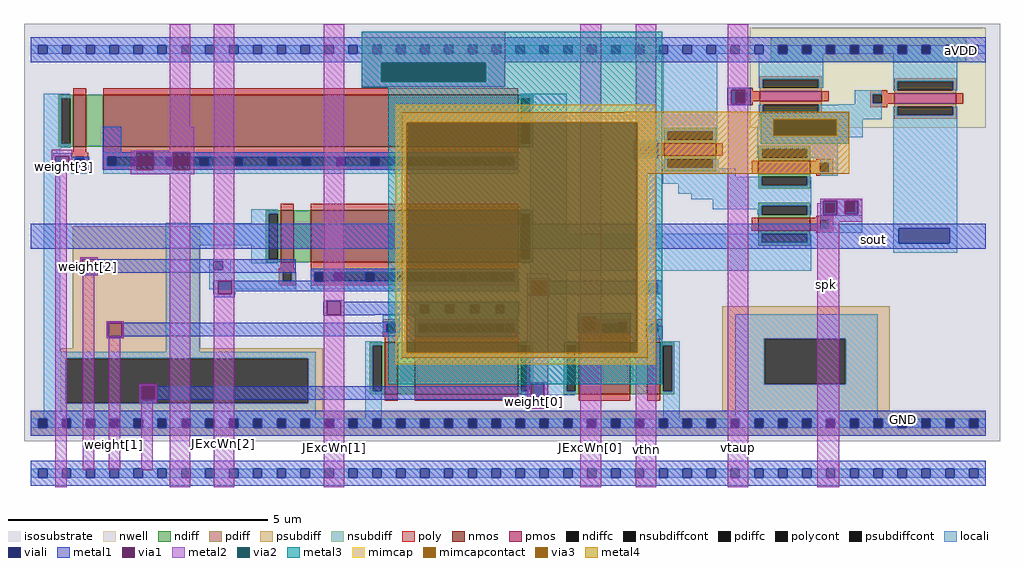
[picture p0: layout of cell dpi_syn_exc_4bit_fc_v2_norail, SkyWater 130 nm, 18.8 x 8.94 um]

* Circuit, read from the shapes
.subckt dpi_syn_exc_4bit_fc_v2_norail GND sout spk weight[0] weight[3] weight[2] weight[1] JExcWn[0] JExcWn[1] JExcWn[2] JExcWn[3] vthn vtaup aVDD
XM1 n1 weight[3] GND GND sky130_fd_pr__nfet_01v8 w=1 l=0.25
XM2 n2 JExcWn[3] n1 GND sky130_fd_pr__nfet_01v8 w=1 l=8
XM3 n3 weight[2] GND GND sky130_fd_pr__nfet_01v8 w=1 l=0.25
XM4 n2 JExcWn[2] n3 GND sky130_fd_pr__nfet_01v8 w=1 l=4
XM5 n4 weight[1] GND GND sky130_fd_pr__nfet_01v8 w=1 l=0.25
XM6 n2 JExcWn[1] n4 GND sky130_fd_pr__nfet_01v8 w=1 l=2
XM7 n5 JExcWn[0] n2 GND sky130_fd_pr__nfet_01v8 w=1 l=1
XM8 GND weight[0] n5 GND sky130_fd_pr__nfet_01v8 w=1 l=0.25
XM9 aVDD vthn n6 GND sky130_fd_pr__nfet_01v8 w=1 l=0.25
XM10 n6 spk n2 GND sky130_fd_pr__nfet_01v8 w=1 l=0.25
XM11 n7 n7 n6 GND sky130_fd_pr__nfet_01v8 w=1 l=0.25
XM12 aVDD vtaup n7 aVDD sky130_fd_pr__pfet_01v8 w=1.2 l=0.2
XM13 aVDD n7 sout aVDD sky130_fd_pr__pfet_01v8 w=1.2 l=0.2
XC14 n7 aVDD sky130_fd_pr__cap_mim_m3_1 w=5 l=5
.ends

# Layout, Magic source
magic
tech sky130A
magscale 1 2
<< isosubstrate >>
rect 11978 -9503 15739 -7893
<< nwell >>
rect 14774 -8295 15684 -7909
<< nmos >>
rect 12168 -8368 12218 -8168
rect 12283 -8368 13883 -8168
rect 14445 -8403 14645 -8353
rect 14808 -8471 15008 -8421
rect 12968 -8813 13018 -8613
rect 13083 -8813 13883 -8613
rect 14808 -8691 15008 -8641
rect 13368 -9321 13418 -9121
rect 13483 -9321 13883 -9121
rect 14115 -9321 14315 -9121
rect 14380 -9321 14430 -9121
<< pmos >>
rect 14813 -8193 15053 -8153
rect 15331 -8201 15571 -8161
<< ndiff >>
rect 12110 -8180 12168 -8168
rect 12110 -8356 12122 -8180
rect 12156 -8356 12168 -8180
rect 12110 -8368 12168 -8356
rect 12218 -8368 12283 -8168
rect 13883 -8180 13941 -8168
rect 13883 -8356 13895 -8180
rect 13929 -8356 13941 -8180
rect 14445 -8307 14645 -8295
rect 14445 -8341 14457 -8307
rect 14633 -8341 14645 -8307
rect 13883 -8368 13941 -8356
rect 14445 -8353 14645 -8341
rect 14808 -8375 15008 -8363
rect 14445 -8415 14645 -8403
rect 14445 -8449 14457 -8415
rect 14633 -8449 14645 -8415
rect 14808 -8409 14820 -8375
rect 14996 -8409 15008 -8375
rect 14808 -8421 15008 -8409
rect 14445 -8461 14645 -8449
rect 14808 -8483 15008 -8471
rect 14808 -8517 14820 -8483
rect 14996 -8517 15008 -8483
rect 14808 -8529 15008 -8517
rect 14808 -8595 15008 -8583
rect 12910 -8625 12968 -8613
rect 12910 -8801 12922 -8625
rect 12956 -8801 12968 -8625
rect 12910 -8813 12968 -8801
rect 13018 -8813 13083 -8613
rect 13883 -8625 13941 -8613
rect 13883 -8801 13895 -8625
rect 13929 -8801 13941 -8625
rect 14808 -8629 14820 -8595
rect 14996 -8629 15008 -8595
rect 14808 -8641 15008 -8629
rect 14808 -8703 15008 -8691
rect 14808 -8737 14820 -8703
rect 14996 -8737 15008 -8703
rect 14808 -8749 15008 -8737
rect 13883 -8813 13941 -8801
rect 13310 -9133 13368 -9121
rect 13310 -9309 13322 -9133
rect 13356 -9309 13368 -9133
rect 13310 -9321 13368 -9309
rect 13418 -9321 13483 -9121
rect 13883 -9133 13941 -9121
rect 13883 -9309 13895 -9133
rect 13929 -9309 13941 -9133
rect 13883 -9321 13941 -9309
rect 14057 -9133 14115 -9121
rect 14057 -9309 14069 -9133
rect 14103 -9309 14115 -9133
rect 14057 -9321 14115 -9309
rect 14315 -9321 14380 -9121
rect 14430 -9133 14484 -9121
rect 14430 -9309 14442 -9133
rect 14476 -9309 14484 -9133
rect 14430 -9321 14484 -9309
<< pdiff >>
rect 14813 -8107 15053 -8095
rect 14813 -8141 14825 -8107
rect 15041 -8141 15053 -8107
rect 14813 -8153 15053 -8141
rect 15331 -8115 15571 -8103
rect 15331 -8149 15343 -8115
rect 15559 -8149 15571 -8115
rect 15331 -8161 15571 -8149
rect 14813 -8205 15053 -8193
rect 14813 -8239 14825 -8205
rect 15041 -8239 15053 -8205
rect 15331 -8213 15571 -8201
rect 14813 -8251 15053 -8239
rect 15331 -8247 15343 -8213
rect 15559 -8247 15571 -8213
rect 15331 -8259 15571 -8247
<< ndiffc >>
rect 12122 -8356 12156 -8180
rect 13895 -8356 13929 -8180
rect 14457 -8341 14633 -8307
rect 14457 -8449 14633 -8415
rect 14820 -8409 14996 -8375
rect 14820 -8517 14996 -8483
rect 12922 -8801 12956 -8625
rect 13895 -8801 13929 -8625
rect 14820 -8629 14996 -8595
rect 14820 -8737 14996 -8703
rect 13322 -9309 13356 -9133
rect 13895 -9309 13929 -9133
rect 14069 -9309 14103 -9133
rect 14442 -9309 14476 -9133
<< pdiffc >>
rect 14825 -8141 15041 -8107
rect 15343 -8149 15559 -8115
rect 14825 -8239 15041 -8205
rect 15343 -8247 15559 -8213
<< psubdiff >>
rect 12166 -9143 12657 -8673
rect 14669 -9107 15314 -8982
rect 12120 -9183 13130 -9143
rect 12120 -9356 12139 -9183
rect 13074 -9356 13130 -9183
rect 14669 -9282 14830 -9107
rect 15144 -9282 15314 -9107
rect 12120 -9385 13130 -9356
rect 14669 -9385 15314 -9282
rect 12004 -9416 15684 -9385
rect 12004 -9450 12033 -9416
rect 12067 -9450 12125 -9416
rect 12159 -9450 12217 -9416
rect 12251 -9450 12309 -9416
rect 12343 -9450 12401 -9416
rect 12435 -9450 12493 -9416
rect 12527 -9450 12585 -9416
rect 12619 -9450 12677 -9416
rect 12711 -9450 12769 -9416
rect 12803 -9450 12861 -9416
rect 12895 -9450 12953 -9416
rect 12987 -9450 13045 -9416
rect 13079 -9450 13137 -9416
rect 13171 -9450 13229 -9416
rect 13263 -9450 13321 -9416
rect 13355 -9450 13413 -9416
rect 13447 -9450 13505 -9416
rect 13539 -9450 13597 -9416
rect 13631 -9450 13689 -9416
rect 13723 -9450 13781 -9416
rect 13815 -9450 13873 -9416
rect 13907 -9450 13965 -9416
rect 13999 -9450 14057 -9416
rect 14091 -9450 14149 -9416
rect 14183 -9450 14241 -9416
rect 14275 -9450 14333 -9416
rect 14367 -9450 14425 -9416
rect 14459 -9450 14517 -9416
rect 14551 -9450 14609 -9416
rect 14643 -9450 14701 -9416
rect 14735 -9450 14793 -9416
rect 14827 -9450 14885 -9416
rect 14919 -9450 14977 -9416
rect 15011 -9450 15069 -9416
rect 15103 -9450 15161 -9416
rect 15195 -9450 15253 -9416
rect 15287 -9450 15345 -9416
rect 15379 -9450 15437 -9416
rect 15471 -9450 15529 -9416
rect 15563 -9450 15621 -9416
rect 15655 -9450 15684 -9416
rect 12004 -9481 15684 -9450
<< nsubdiff >>
rect 14856 -7976 15609 -7945
rect 14856 -8010 14885 -7976
rect 14919 -8010 14977 -7976
rect 15011 -8010 15069 -7976
rect 15103 -8010 15161 -7976
rect 15195 -8010 15253 -7976
rect 15287 -8010 15345 -7976
rect 15379 -8010 15437 -7976
rect 15471 -8010 15529 -7976
rect 15563 -8010 15609 -7976
rect 14856 -8040 15609 -8010
<< psubdiffcont >>
rect 12139 -9356 13074 -9183
rect 14830 -9282 15144 -9107
rect 12033 -9450 12067 -9416
rect 12125 -9450 12159 -9416
rect 12217 -9450 12251 -9416
rect 12309 -9450 12343 -9416
rect 12401 -9450 12435 -9416
rect 12493 -9450 12527 -9416
rect 12585 -9450 12619 -9416
rect 12677 -9450 12711 -9416
rect 12769 -9450 12803 -9416
rect 12861 -9450 12895 -9416
rect 12953 -9450 12987 -9416
rect 13045 -9450 13079 -9416
rect 13137 -9450 13171 -9416
rect 13229 -9450 13263 -9416
rect 13321 -9450 13355 -9416
rect 13413 -9450 13447 -9416
rect 13505 -9450 13539 -9416
rect 13597 -9450 13631 -9416
rect 13689 -9450 13723 -9416
rect 13781 -9450 13815 -9416
rect 13873 -9450 13907 -9416
rect 13965 -9450 13999 -9416
rect 14057 -9450 14091 -9416
rect 14149 -9450 14183 -9416
rect 14241 -9450 14275 -9416
rect 14333 -9450 14367 -9416
rect 14425 -9450 14459 -9416
rect 14517 -9450 14551 -9416
rect 14609 -9450 14643 -9416
rect 14701 -9450 14735 -9416
rect 14793 -9450 14827 -9416
rect 14885 -9450 14919 -9416
rect 14977 -9450 15011 -9416
rect 15069 -9450 15103 -9416
rect 15161 -9450 15195 -9416
rect 15253 -9450 15287 -9416
rect 15345 -9450 15379 -9416
rect 15437 -9450 15471 -9416
rect 15529 -9450 15563 -9416
rect 15621 -9450 15655 -9416
<< nsubdiffcont >>
rect 14885 -8010 14919 -7976
rect 14977 -8010 15011 -7976
rect 15069 -8010 15103 -7976
rect 15161 -8010 15195 -7976
rect 15253 -8010 15287 -7976
rect 15345 -8010 15379 -7976
rect 15437 -8010 15471 -7976
rect 15529 -8010 15563 -7976
<< poly >>
rect 12168 -8168 12218 -8142
rect 12283 -8168 13883 -8142
rect 14721 -8153 14787 -8141
rect 14721 -8157 14813 -8153
rect 14721 -8191 14731 -8157
rect 14765 -8191 14813 -8157
rect 14721 -8193 14813 -8191
rect 15053 -8193 15079 -8153
rect 15239 -8161 15305 -8149
rect 15239 -8165 15331 -8161
rect 14721 -8207 14787 -8193
rect 15239 -8199 15249 -8165
rect 15283 -8199 15331 -8165
rect 15239 -8201 15331 -8199
rect 15571 -8201 15597 -8161
rect 15239 -8215 15305 -8201
rect 14357 -8353 14423 -8345
rect 14357 -8361 14445 -8353
rect 12168 -8390 12218 -8368
rect 12160 -8406 12226 -8390
rect 12160 -8440 12176 -8406
rect 12210 -8440 12226 -8406
rect 12160 -8456 12226 -8440
rect 12283 -8406 13883 -8368
rect 12283 -8440 12299 -8406
rect 13867 -8440 13883 -8406
rect 14357 -8395 14373 -8361
rect 14407 -8395 14445 -8361
rect 14357 -8403 14445 -8395
rect 14645 -8403 14671 -8353
rect 14357 -8411 14423 -8403
rect 12283 -8456 13883 -8440
rect 15030 -8421 15096 -8413
rect 14782 -8471 14808 -8421
rect 15008 -8429 15096 -8421
rect 15008 -8463 15046 -8429
rect 15080 -8463 15096 -8429
rect 15008 -8471 15096 -8463
rect 15030 -8479 15096 -8471
rect 12968 -8613 13018 -8587
rect 13083 -8613 13883 -8587
rect 15030 -8641 15096 -8633
rect 14782 -8691 14808 -8641
rect 15008 -8649 15096 -8641
rect 15008 -8683 15046 -8649
rect 15080 -8683 15096 -8649
rect 15008 -8691 15096 -8683
rect 15030 -8699 15096 -8691
rect 12968 -8835 13018 -8813
rect 12960 -8851 13026 -8835
rect 12960 -8885 12976 -8851
rect 13010 -8885 13026 -8851
rect 12960 -8901 13026 -8885
rect 13083 -8851 13883 -8813
rect 13083 -8885 13099 -8851
rect 13867 -8885 13883 -8851
rect 13083 -8901 13883 -8885
rect 13360 -9049 13426 -9033
rect 13360 -9083 13376 -9049
rect 13410 -9083 13426 -9049
rect 13360 -9099 13426 -9083
rect 13483 -9049 13883 -9033
rect 13483 -9083 13499 -9049
rect 13867 -9083 13883 -9049
rect 13368 -9121 13418 -9099
rect 13483 -9121 13883 -9083
rect 14115 -9049 14315 -9033
rect 14115 -9083 14131 -9049
rect 14299 -9083 14315 -9049
rect 14115 -9121 14315 -9083
rect 14372 -9049 14438 -9033
rect 14372 -9083 14388 -9049
rect 14422 -9083 14438 -9049
rect 14372 -9099 14438 -9083
rect 14380 -9121 14430 -9099
rect 13368 -9347 13418 -9321
rect 13483 -9347 13883 -9321
rect 14115 -9347 14315 -9321
rect 14380 -9347 14430 -9321
<< polycont >>
rect 14731 -8191 14765 -8157
rect 15249 -8199 15283 -8165
rect 12176 -8440 12210 -8406
rect 12299 -8440 13867 -8406
rect 14373 -8395 14407 -8361
rect 15046 -8463 15080 -8429
rect 15046 -8683 15080 -8649
rect 12976 -8885 13010 -8851
rect 13099 -8885 13867 -8851
rect 13376 -9083 13410 -9049
rect 13499 -9083 13867 -9049
rect 14131 -9083 14299 -9049
rect 14388 -9083 14422 -9049
<< locali >>
rect 12004 -8010 12033 -7976
rect 12067 -8010 12125 -7976
rect 12159 -8010 12217 -7976
rect 12251 -8010 12309 -7976
rect 12343 -8010 12401 -7976
rect 12435 -8010 12493 -7976
rect 12527 -8010 12585 -7976
rect 12619 -8010 12677 -7976
rect 12711 -8010 12769 -7976
rect 12803 -8010 12861 -7976
rect 12895 -8010 12953 -7976
rect 12987 -8010 13045 -7976
rect 13079 -8010 13137 -7976
rect 13171 -8010 13229 -7976
rect 13263 -8010 13321 -7976
rect 13355 -8010 13413 -7976
rect 13447 -8010 13505 -7976
rect 13539 -8010 13597 -7976
rect 13631 -8010 13689 -7976
rect 13723 -8010 13781 -7976
rect 13815 -8010 13873 -7976
rect 13907 -8010 13965 -7976
rect 13999 -8010 14057 -7976
rect 14091 -8010 14149 -7976
rect 14183 -8010 14241 -7976
rect 14275 -8010 14333 -7976
rect 14367 -8010 14425 -7976
rect 14459 -8010 14517 -7976
rect 14551 -8010 14609 -7976
rect 14643 -8010 14701 -7976
rect 14735 -8010 14793 -7976
rect 14827 -8010 14885 -7976
rect 14919 -8010 14977 -7976
rect 15011 -8010 15069 -7976
rect 15103 -8010 15161 -7976
rect 15195 -8010 15253 -7976
rect 15287 -8010 15345 -7976
rect 15379 -8010 15437 -7976
rect 15471 -8010 15529 -7976
rect 15563 -8010 15621 -7976
rect 15655 -8010 15684 -7976
rect 12055 -8180 12156 -8164
rect 12055 -8356 12122 -8180
rect 12055 -8372 12156 -8356
rect 13895 -8180 14069 -8164
rect 13929 -8356 14069 -8180
rect 14441 -8307 14649 -8010
rect 14809 -8107 15057 -8010
rect 14688 -8157 14769 -8140
rect 14809 -8141 14825 -8107
rect 15041 -8141 15057 -8107
rect 15327 -8115 15575 -8010
rect 15327 -8149 15343 -8115
rect 15559 -8149 15575 -8115
rect 14688 -8191 14720 -8157
rect 14765 -8191 14769 -8157
rect 14688 -8207 14769 -8191
rect 15179 -8165 15283 -8149
rect 15179 -8199 15249 -8165
rect 15179 -8203 15283 -8199
rect 15116 -8205 15283 -8203
rect 14809 -8239 14825 -8205
rect 15041 -8239 15283 -8205
rect 14809 -8261 15283 -8239
rect 14809 -8292 14867 -8261
rect 14441 -8341 14457 -8307
rect 14633 -8341 14649 -8307
rect 14803 -8326 14867 -8292
rect 15110 -8262 15283 -8261
rect 15327 -8247 15343 -8213
rect 15559 -8247 15575 -8213
rect 15110 -8326 15210 -8262
rect 14803 -8330 15210 -8326
rect 13895 -8372 14069 -8356
rect 12055 -9157 12118 -8372
rect 12282 -8406 13860 -8388
rect 12160 -8448 12176 -8406
rect 12210 -8448 12226 -8406
rect 12160 -8472 12226 -8448
rect 12282 -8440 12299 -8406
rect 13867 -8440 13883 -8406
rect 12282 -8441 12525 -8440
rect 12559 -8441 12656 -8440
rect 12690 -8441 12787 -8440
rect 12821 -8441 12918 -8440
rect 12952 -8441 13049 -8440
rect 13083 -8441 13181 -8440
rect 13215 -8441 13312 -8440
rect 13346 -8441 13443 -8440
rect 13477 -8441 13574 -8440
rect 13608 -8441 13705 -8440
rect 13739 -8441 13883 -8440
rect 12282 -8457 13883 -8441
rect 12283 -8472 13883 -8457
rect 13929 -8609 14069 -8372
rect 14328 -8361 14407 -8345
rect 14328 -8395 14352 -8361
rect 14328 -8412 14407 -8395
rect 14803 -8375 15114 -8330
rect 14803 -8409 14820 -8375
rect 14996 -8409 15114 -8375
rect 14441 -8437 14457 -8415
rect 14440 -8449 14457 -8437
rect 14633 -8449 14654 -8415
rect 14440 -8450 14654 -8449
rect 15046 -8429 15114 -8409
rect 14440 -8484 14721 -8450
rect 15080 -8463 15114 -8429
rect 15046 -8479 15114 -8463
rect 14804 -8484 14820 -8483
rect 14440 -8510 14820 -8484
rect 14499 -8517 14820 -8510
rect 14996 -8517 15012 -8483
rect 14499 -8548 15012 -8517
rect 14550 -8569 15012 -8548
rect 14633 -8595 15012 -8569
rect 14633 -8608 14820 -8595
rect 12853 -8625 12956 -8609
rect 12525 -8662 12609 -8661
rect 12853 -8662 12922 -8625
rect 12525 -8747 12922 -8662
rect 12525 -9157 12656 -8747
rect 12853 -8801 12922 -8747
rect 12691 -8808 12774 -8801
rect 12691 -8842 12710 -8808
rect 12744 -8842 12774 -8808
rect 12853 -8817 12956 -8801
rect 13895 -8625 14069 -8609
rect 13929 -8703 14069 -8625
rect 14804 -8629 14820 -8608
rect 14996 -8629 15012 -8595
rect 15046 -8584 15209 -8568
rect 15046 -8585 15145 -8584
rect 15046 -8619 15066 -8585
rect 15100 -8618 15145 -8585
rect 15179 -8618 15209 -8584
rect 15100 -8619 15209 -8618
rect 15046 -8649 15209 -8619
rect 15080 -8650 15209 -8649
rect 15080 -8683 15208 -8650
rect 15046 -8699 15208 -8683
rect 15327 -8682 15575 -8247
rect 13929 -8737 14820 -8703
rect 14996 -8737 15012 -8703
rect 13929 -8801 15012 -8737
rect 15327 -8740 15348 -8682
rect 15545 -8740 15575 -8682
rect 15327 -8776 15575 -8740
rect 13895 -8817 15012 -8801
rect 12691 -8851 12774 -8842
rect 13083 -8851 13867 -8838
rect 13929 -8846 15012 -8817
rect 12691 -8866 12976 -8851
rect 12692 -8885 12976 -8866
rect 13010 -8885 13027 -8851
rect 12692 -8917 13027 -8885
rect 13083 -8885 13099 -8851
rect 13867 -8885 13883 -8851
rect 13083 -8917 13883 -8885
rect 13840 -8966 13883 -8965
rect 13483 -8976 13883 -8966
rect 13483 -9010 13504 -8976
rect 13538 -9010 13601 -8976
rect 13635 -9010 13698 -8976
rect 13732 -9010 13795 -8976
rect 13829 -9010 13883 -8976
rect 13360 -9049 13426 -9017
rect 13360 -9083 13376 -9049
rect 13410 -9083 13426 -9049
rect 13483 -9049 13883 -9010
rect 13483 -9083 13499 -9049
rect 13867 -9083 13883 -9049
rect 13483 -9098 13853 -9083
rect 13929 -9117 14069 -8846
rect 14371 -8894 14438 -8881
rect 14371 -8928 14386 -8894
rect 14420 -8928 14438 -8894
rect 14112 -9043 14317 -9010
rect 14112 -9083 14131 -9043
rect 14165 -9049 14266 -9043
rect 14300 -9077 14317 -9043
rect 14371 -9049 14438 -8928
rect 14371 -9066 14388 -9049
rect 14299 -9083 14317 -9077
rect 14372 -9083 14388 -9066
rect 14422 -9083 14438 -9049
rect 14112 -9084 14317 -9083
rect 14719 -9107 15267 -9012
rect 13293 -9133 13356 -9117
rect 12055 -9183 13103 -9157
rect 12055 -9356 12139 -9183
rect 13074 -9356 13103 -9183
rect 12055 -9416 13103 -9356
rect 13293 -9309 13322 -9133
rect 13293 -9416 13356 -9309
rect 13895 -9133 14103 -9117
rect 13929 -9309 14069 -9133
rect 13895 -9325 14103 -9309
rect 14442 -9133 14505 -9117
rect 14476 -9309 14505 -9133
rect 14442 -9416 14505 -9309
rect 14719 -9282 14830 -9107
rect 15144 -9282 15267 -9107
rect 14719 -9416 15267 -9282
rect 12004 -9450 12033 -9416
rect 12067 -9450 12125 -9416
rect 12159 -9450 12217 -9416
rect 12251 -9450 12309 -9416
rect 12343 -9450 12401 -9416
rect 12435 -9450 12493 -9416
rect 12527 -9450 12585 -9416
rect 12619 -9450 12677 -9416
rect 12711 -9450 12769 -9416
rect 12803 -9450 12861 -9416
rect 12895 -9450 12953 -9416
rect 12987 -9450 13045 -9416
rect 13079 -9450 13137 -9416
rect 13171 -9450 13229 -9416
rect 13263 -9450 13321 -9416
rect 13355 -9450 13413 -9416
rect 13447 -9450 13505 -9416
rect 13539 -9450 13597 -9416
rect 13631 -9450 13689 -9416
rect 13723 -9450 13781 -9416
rect 13815 -9450 13873 -9416
rect 13907 -9450 13965 -9416
rect 13999 -9450 14057 -9416
rect 14091 -9450 14149 -9416
rect 14183 -9450 14241 -9416
rect 14275 -9450 14333 -9416
rect 14367 -9450 14425 -9416
rect 14459 -9450 14517 -9416
rect 14551 -9450 14609 -9416
rect 14643 -9450 14701 -9416
rect 14735 -9450 14793 -9416
rect 14827 -9450 14885 -9416
rect 14919 -9450 14977 -9416
rect 15011 -9450 15069 -9416
rect 15103 -9450 15161 -9416
rect 15195 -9450 15253 -9416
rect 15287 -9450 15345 -9416
rect 15379 -9450 15437 -9416
rect 15471 -9450 15529 -9416
rect 15563 -9450 15621 -9416
rect 15655 -9450 15684 -9416
rect 12004 -9642 12033 -9608
rect 12067 -9642 12125 -9608
rect 12159 -9642 12217 -9608
rect 12251 -9642 12309 -9608
rect 12343 -9642 12401 -9608
rect 12435 -9642 12493 -9608
rect 12527 -9642 12585 -9608
rect 12619 -9642 12677 -9608
rect 12711 -9642 12769 -9608
rect 12803 -9642 12861 -9608
rect 12895 -9642 12953 -9608
rect 12987 -9642 13045 -9608
rect 13079 -9642 13137 -9608
rect 13171 -9642 13229 -9608
rect 13263 -9642 13321 -9608
rect 13355 -9642 13413 -9608
rect 13447 -9642 13505 -9608
rect 13539 -9642 13597 -9608
rect 13631 -9642 13689 -9608
rect 13723 -9642 13781 -9608
rect 13815 -9642 13873 -9608
rect 13907 -9642 13965 -9608
rect 13999 -9642 14057 -9608
rect 14091 -9642 14149 -9608
rect 14183 -9642 14241 -9608
rect 14275 -9642 14333 -9608
rect 14367 -9642 14425 -9608
rect 14459 -9642 14517 -9608
rect 14551 -9642 14609 -9608
rect 14643 -9642 14701 -9608
rect 14735 -9642 14793 -9608
rect 14827 -9642 14885 -9608
rect 14919 -9642 14977 -9608
rect 15011 -9642 15069 -9608
rect 15103 -9642 15161 -9608
rect 15195 -9642 15253 -9608
rect 15287 -9642 15345 -9608
rect 15379 -9642 15437 -9608
rect 15471 -9642 15529 -9608
rect 15563 -9642 15621 -9608
rect 15655 -9642 15684 -9608
<< viali >>
rect 12033 -8010 12067 -7976
rect 12125 -8010 12159 -7976
rect 12217 -8010 12251 -7976
rect 12309 -8010 12343 -7976
rect 12401 -8010 12435 -7976
rect 12493 -8010 12527 -7976
rect 12585 -8010 12619 -7976
rect 12677 -8010 12711 -7976
rect 12769 -8010 12803 -7976
rect 12861 -8010 12895 -7976
rect 12953 -8010 12987 -7976
rect 13045 -8010 13079 -7976
rect 13137 -8010 13171 -7976
rect 13229 -8010 13263 -7976
rect 13321 -8010 13355 -7976
rect 13413 -8010 13447 -7976
rect 13505 -8010 13539 -7976
rect 13597 -8010 13631 -7976
rect 13689 -8010 13723 -7976
rect 13781 -8010 13815 -7976
rect 13873 -8010 13907 -7976
rect 13965 -8010 13999 -7976
rect 14057 -8010 14091 -7976
rect 14149 -8010 14183 -7976
rect 14241 -8010 14275 -7976
rect 14333 -8010 14367 -7976
rect 14425 -8010 14459 -7976
rect 14517 -8010 14551 -7976
rect 14609 -8010 14643 -7976
rect 14701 -8010 14735 -7976
rect 14793 -8010 14827 -7976
rect 14885 -8010 14919 -7976
rect 14977 -8010 15011 -7976
rect 15069 -8010 15103 -7976
rect 15161 -8010 15195 -7976
rect 15253 -8010 15287 -7976
rect 15345 -8010 15379 -7976
rect 15437 -8010 15471 -7976
rect 15529 -8010 15563 -7976
rect 15621 -8010 15655 -7976
rect 14720 -8191 14731 -8157
rect 14731 -8191 14754 -8157
rect 14867 -8326 15110 -8261
rect 12176 -8440 12210 -8414
rect 12176 -8448 12210 -8440
rect 12299 -8440 12333 -8406
rect 12394 -8440 12428 -8406
rect 12525 -8440 12559 -8407
rect 12656 -8440 12690 -8407
rect 12787 -8440 12821 -8407
rect 12918 -8440 12952 -8407
rect 13049 -8440 13083 -8407
rect 13181 -8440 13215 -8407
rect 13312 -8440 13346 -8407
rect 13443 -8440 13477 -8407
rect 13574 -8440 13608 -8407
rect 13705 -8440 13739 -8407
rect 13801 -8440 13835 -8406
rect 12525 -8441 12559 -8440
rect 12656 -8441 12690 -8440
rect 12787 -8441 12821 -8440
rect 12918 -8441 12952 -8440
rect 13049 -8441 13083 -8440
rect 13181 -8441 13215 -8440
rect 13312 -8441 13346 -8440
rect 13443 -8441 13477 -8440
rect 13574 -8441 13608 -8440
rect 13705 -8441 13739 -8440
rect 14352 -8395 14373 -8361
rect 14373 -8395 14386 -8361
rect 12710 -8842 12744 -8808
rect 15066 -8619 15100 -8585
rect 15145 -8618 15179 -8584
rect 15348 -8740 15545 -8682
rect 13099 -8885 13133 -8851
rect 13172 -8885 13206 -8851
rect 13293 -8885 13327 -8851
rect 13413 -8885 13447 -8851
rect 13533 -8885 13567 -8851
rect 13653 -8885 13687 -8851
rect 13773 -8885 13807 -8851
rect 13504 -9010 13538 -8976
rect 13601 -9010 13635 -8976
rect 13698 -9010 13732 -8976
rect 13795 -9010 13829 -8976
rect 13376 -9083 13410 -9049
rect 13499 -9083 13533 -9049
rect 13581 -9083 13615 -9049
rect 13678 -9083 13712 -9049
rect 13795 -9083 13829 -9049
rect 14386 -8928 14420 -8894
rect 14131 -9049 14165 -9043
rect 14266 -9049 14300 -9043
rect 14131 -9077 14165 -9049
rect 14266 -9077 14299 -9049
rect 14299 -9077 14300 -9049
rect 12033 -9450 12067 -9416
rect 12125 -9450 12159 -9416
rect 12217 -9450 12251 -9416
rect 12309 -9450 12343 -9416
rect 12401 -9450 12435 -9416
rect 12493 -9450 12527 -9416
rect 12585 -9450 12619 -9416
rect 12677 -9450 12711 -9416
rect 12769 -9450 12803 -9416
rect 12861 -9450 12895 -9416
rect 12953 -9450 12987 -9416
rect 13045 -9450 13079 -9416
rect 13137 -9450 13171 -9416
rect 13229 -9450 13263 -9416
rect 13321 -9450 13355 -9416
rect 13413 -9450 13447 -9416
rect 13505 -9450 13539 -9416
rect 13597 -9450 13631 -9416
rect 13689 -9450 13723 -9416
rect 13781 -9450 13815 -9416
rect 13873 -9450 13907 -9416
rect 13965 -9450 13999 -9416
rect 14057 -9450 14091 -9416
rect 14149 -9450 14183 -9416
rect 14241 -9450 14275 -9416
rect 14333 -9450 14367 -9416
rect 14425 -9450 14459 -9416
rect 14517 -9450 14551 -9416
rect 14609 -9450 14643 -9416
rect 14701 -9450 14735 -9416
rect 14793 -9450 14827 -9416
rect 14885 -9450 14919 -9416
rect 14977 -9450 15011 -9416
rect 15069 -9450 15103 -9416
rect 15161 -9450 15195 -9416
rect 15253 -9450 15287 -9416
rect 15345 -9450 15379 -9416
rect 15437 -9450 15471 -9416
rect 15529 -9450 15563 -9416
rect 15621 -9450 15655 -9416
rect 12033 -9642 12067 -9608
rect 12125 -9642 12159 -9608
rect 12217 -9642 12251 -9608
rect 12309 -9642 12343 -9608
rect 12401 -9642 12435 -9608
rect 12493 -9642 12527 -9608
rect 12585 -9642 12619 -9608
rect 12677 -9642 12711 -9608
rect 12769 -9642 12803 -9608
rect 12861 -9642 12895 -9608
rect 12953 -9642 12987 -9608
rect 13045 -9642 13079 -9608
rect 13137 -9642 13171 -9608
rect 13229 -9642 13263 -9608
rect 13321 -9642 13355 -9608
rect 13413 -9642 13447 -9608
rect 13505 -9642 13539 -9608
rect 13597 -9642 13631 -9608
rect 13689 -9642 13723 -9608
rect 13781 -9642 13815 -9608
rect 13873 -9642 13907 -9608
rect 13965 -9642 13999 -9608
rect 14057 -9642 14091 -9608
rect 14149 -9642 14183 -9608
rect 14241 -9642 14275 -9608
rect 14333 -9642 14367 -9608
rect 14425 -9642 14459 -9608
rect 14517 -9642 14551 -9608
rect 14609 -9642 14643 -9608
rect 14701 -9642 14735 -9608
rect 14793 -9642 14827 -9608
rect 14885 -9642 14919 -9608
rect 14977 -9642 15011 -9608
rect 15069 -9642 15103 -9608
rect 15161 -9642 15195 -9608
rect 15253 -9642 15287 -9608
rect 15345 -9642 15379 -9608
rect 15437 -9642 15471 -9608
rect 15529 -9642 15563 -9608
rect 15621 -9642 15655 -9608
<< metal1 >>
rect 12004 -7976 15684 -7945
rect 12004 -8010 12033 -7976
rect 12067 -8010 12125 -7976
rect 12159 -8010 12217 -7976
rect 12251 -8010 12309 -7976
rect 12343 -8010 12401 -7976
rect 12435 -8010 12493 -7976
rect 12527 -8010 12585 -7976
rect 12619 -8010 12677 -7976
rect 12711 -8010 12769 -7976
rect 12803 -8010 12861 -7976
rect 12895 -8010 12953 -7976
rect 12987 -8010 13045 -7976
rect 13079 -8010 13137 -7976
rect 13171 -8010 13229 -7976
rect 13263 -8010 13321 -7976
rect 13355 -8010 13413 -7976
rect 13447 -8010 13505 -7976
rect 13539 -8010 13597 -7976
rect 13631 -8010 13689 -7976
rect 13723 -8010 13781 -7976
rect 13815 -8010 13873 -7976
rect 13907 -8010 13965 -7976
rect 13999 -8010 14057 -7976
rect 14091 -8010 14149 -7976
rect 14183 -8010 14241 -7976
rect 14275 -8010 14333 -7976
rect 14367 -8010 14425 -7976
rect 14459 -8010 14517 -7976
rect 14551 -8010 14609 -7976
rect 14643 -8010 14701 -7976
rect 14735 -8010 14793 -7976
rect 14827 -8010 14885 -7976
rect 14919 -8010 14977 -7976
rect 15011 -8010 15069 -7976
rect 15103 -8010 15161 -7976
rect 15195 -8010 15253 -7976
rect 15287 -8010 15345 -7976
rect 15379 -8010 15437 -7976
rect 15471 -8010 15529 -7976
rect 15563 -8010 15621 -7976
rect 15655 -8010 15684 -7976
rect 12004 -8041 15684 -8010
rect 13279 -8044 13830 -8041
rect 13279 -8117 13355 -8044
rect 13758 -8117 13830 -8044
rect 13279 -8137 13830 -8117
rect 14688 -8148 14778 -8140
rect 14688 -8201 14704 -8148
rect 14757 -8201 14778 -8148
rect 14688 -8207 14778 -8201
rect 14817 -8261 15159 -8232
rect 12282 -8388 12353 -8291
rect 14817 -8326 14867 -8261
rect 15110 -8326 15159 -8261
rect 14335 -8351 14423 -8344
rect 12091 -8405 12160 -8393
rect 12091 -8406 12099 -8405
rect 12085 -8458 12099 -8406
rect 12152 -8406 12160 -8405
rect 12282 -8406 12410 -8388
rect 12478 -8389 13883 -8388
rect 12152 -8414 12229 -8406
rect 12152 -8448 12176 -8414
rect 12210 -8448 12229 -8414
rect 12152 -8458 12229 -8448
rect 12282 -8440 12299 -8406
rect 12333 -8440 12394 -8406
rect 12478 -8407 12551 -8389
rect 12619 -8406 13883 -8389
rect 12619 -8407 13801 -8406
rect 12282 -8456 12410 -8440
rect 12478 -8441 12525 -8407
rect 12619 -8441 12656 -8407
rect 12690 -8441 12787 -8407
rect 12821 -8441 12918 -8407
rect 12952 -8441 13049 -8407
rect 13083 -8441 13181 -8407
rect 13215 -8441 13312 -8407
rect 13346 -8441 13443 -8407
rect 13477 -8441 13574 -8407
rect 13608 -8441 13705 -8407
rect 13739 -8440 13801 -8407
rect 13835 -8440 13883 -8406
rect 14335 -8404 14346 -8351
rect 14399 -8404 14423 -8351
rect 14817 -8355 15159 -8326
rect 14335 -8412 14423 -8404
rect 13739 -8441 13883 -8440
rect 12478 -8456 12551 -8441
rect 12282 -8457 12551 -8456
rect 12619 -8457 13883 -8441
rect 15046 -8575 15209 -8568
rect 15046 -8576 15140 -8575
rect 15046 -8629 15058 -8576
rect 15111 -8628 15140 -8576
rect 15193 -8628 15209 -8575
rect 15111 -8629 15209 -8628
rect 15046 -8633 15209 -8629
rect 12004 -8682 15684 -8665
rect 12004 -8740 15348 -8682
rect 15545 -8740 15684 -8682
rect 12004 -8760 15684 -8740
rect 14495 -8761 15232 -8760
rect 12195 -8800 12263 -8793
rect 12195 -8853 12202 -8800
rect 12255 -8801 12263 -8800
rect 12255 -8808 13026 -8801
rect 12255 -8842 12710 -8808
rect 12744 -8842 13026 -8808
rect 12255 -8853 13026 -8842
rect 13083 -8851 13883 -8838
rect 12195 -8863 12263 -8853
rect 12709 -8883 12791 -8881
rect 13083 -8883 13099 -8851
rect 12708 -8935 12726 -8883
rect 12709 -8936 12726 -8935
rect 12779 -8885 13099 -8883
rect 13133 -8885 13172 -8851
rect 13206 -8885 13293 -8851
rect 13327 -8885 13413 -8851
rect 13447 -8885 13533 -8851
rect 13567 -8885 13653 -8851
rect 13687 -8885 13773 -8851
rect 13807 -8883 13883 -8851
rect 13807 -8885 13884 -8883
rect 13918 -8884 13999 -8874
rect 14065 -8884 14438 -8883
rect 12779 -8925 13884 -8885
rect 12779 -8935 12793 -8925
rect 12779 -8936 12791 -8935
rect 13917 -8936 13935 -8884
rect 12709 -8948 12791 -8936
rect 13918 -8937 13935 -8936
rect 13988 -8894 14438 -8884
rect 13988 -8928 14386 -8894
rect 14420 -8928 14438 -8894
rect 13988 -8935 14438 -8928
rect 13988 -8936 14290 -8935
rect 13988 -8937 13999 -8936
rect 13918 -8942 13999 -8937
rect 13133 -8963 13211 -8958
rect 13133 -8965 13145 -8963
rect 13132 -9016 13145 -8965
rect 13198 -8965 13211 -8963
rect 13198 -8976 13886 -8965
rect 13198 -9010 13504 -8976
rect 13538 -9010 13601 -8976
rect 13635 -9010 13698 -8976
rect 13732 -9010 13795 -8976
rect 13829 -9010 13886 -8976
rect 13198 -9014 13886 -9010
rect 13198 -9016 13330 -9014
rect 13132 -9017 13330 -9016
rect 13455 -9017 13886 -9014
rect 13133 -9018 13211 -9017
rect 12296 -9046 12363 -9039
rect 13358 -9046 13427 -9042
rect 12296 -9099 12303 -9046
rect 12356 -9049 13427 -9046
rect 12356 -9083 13376 -9049
rect 13410 -9083 13427 -9049
rect 12356 -9084 13427 -9083
rect 13483 -9049 13883 -9017
rect 13483 -9083 13499 -9049
rect 13533 -9083 13581 -9049
rect 13615 -9083 13678 -9049
rect 13712 -9083 13795 -9049
rect 13829 -9083 13883 -9049
rect 12356 -9098 13426 -9084
rect 12356 -9099 12363 -9098
rect 13483 -9099 13883 -9083
rect 14112 -9025 14317 -9010
rect 14112 -9078 14131 -9025
rect 14184 -9043 14317 -9025
rect 14184 -9077 14266 -9043
rect 14300 -9077 14317 -9043
rect 14184 -9078 14317 -9077
rect 14112 -9084 14317 -9078
rect 12296 -9106 12363 -9099
rect 14372 -9109 14440 -9057
rect 13917 -9280 13996 -9274
rect 12422 -9289 12491 -9281
rect 12422 -9342 12430 -9289
rect 12483 -9291 12491 -9289
rect 13917 -9291 13930 -9280
rect 12483 -9333 13930 -9291
rect 13983 -9333 13996 -9280
rect 12483 -9341 13996 -9333
rect 12483 -9342 13958 -9341
rect 12422 -9343 13958 -9342
rect 12422 -9354 12491 -9343
rect 12004 -9416 15684 -9385
rect 12004 -9450 12033 -9416
rect 12067 -9450 12125 -9416
rect 12159 -9450 12217 -9416
rect 12251 -9450 12309 -9416
rect 12343 -9450 12401 -9416
rect 12435 -9450 12493 -9416
rect 12527 -9450 12585 -9416
rect 12619 -9450 12677 -9416
rect 12711 -9450 12769 -9416
rect 12803 -9450 12861 -9416
rect 12895 -9450 12953 -9416
rect 12987 -9450 13045 -9416
rect 13079 -9450 13137 -9416
rect 13171 -9450 13229 -9416
rect 13263 -9450 13321 -9416
rect 13355 -9450 13413 -9416
rect 13447 -9450 13505 -9416
rect 13539 -9450 13597 -9416
rect 13631 -9450 13689 -9416
rect 13723 -9450 13781 -9416
rect 13815 -9450 13873 -9416
rect 13907 -9450 13965 -9416
rect 13999 -9450 14057 -9416
rect 14091 -9450 14149 -9416
rect 14183 -9450 14241 -9416
rect 14275 -9450 14333 -9416
rect 14367 -9450 14425 -9416
rect 14459 -9450 14517 -9416
rect 14551 -9450 14609 -9416
rect 14643 -9450 14701 -9416
rect 14735 -9450 14793 -9416
rect 14827 -9450 14885 -9416
rect 14919 -9450 14977 -9416
rect 15011 -9450 15069 -9416
rect 15103 -9450 15161 -9416
rect 15195 -9450 15253 -9416
rect 15287 -9450 15345 -9416
rect 15379 -9450 15437 -9416
rect 15471 -9450 15529 -9416
rect 15563 -9450 15621 -9416
rect 15655 -9450 15684 -9416
rect 12004 -9481 15684 -9450
rect 12004 -9608 15684 -9577
rect 12004 -9642 12033 -9608
rect 12067 -9642 12125 -9608
rect 12159 -9642 12217 -9608
rect 12251 -9642 12309 -9608
rect 12343 -9642 12401 -9608
rect 12435 -9642 12493 -9608
rect 12527 -9642 12585 -9608
rect 12619 -9642 12677 -9608
rect 12711 -9642 12769 -9608
rect 12803 -9642 12861 -9608
rect 12895 -9642 12953 -9608
rect 12987 -9642 13045 -9608
rect 13079 -9642 13137 -9608
rect 13171 -9642 13229 -9608
rect 13263 -9642 13321 -9608
rect 13355 -9642 13413 -9608
rect 13447 -9642 13505 -9608
rect 13539 -9642 13597 -9608
rect 13631 -9642 13689 -9608
rect 13723 -9642 13781 -9608
rect 13815 -9642 13873 -9608
rect 13907 -9642 13965 -9608
rect 13999 -9642 14057 -9608
rect 14091 -9642 14149 -9608
rect 14183 -9642 14241 -9608
rect 14275 -9642 14333 -9608
rect 14367 -9642 14425 -9608
rect 14459 -9642 14517 -9608
rect 14551 -9642 14609 -9608
rect 14643 -9642 14701 -9608
rect 14735 -9642 14793 -9608
rect 14827 -9642 14885 -9608
rect 14919 -9642 14977 -9608
rect 15011 -9642 15069 -9608
rect 15103 -9642 15161 -9608
rect 15195 -9642 15253 -9608
rect 15287 -9642 15345 -9608
rect 15379 -9642 15437 -9608
rect 15471 -9642 15529 -9608
rect 15563 -9642 15621 -9608
rect 15655 -9642 15684 -9608
rect 12004 -9673 15684 -9642
<< via1 >>
rect 13355 -8117 13758 -8044
rect 14704 -8157 14757 -8148
rect 14704 -8191 14720 -8157
rect 14720 -8191 14754 -8157
rect 14754 -8191 14757 -8157
rect 14704 -8201 14757 -8191
rect 14867 -8326 15110 -8261
rect 12099 -8458 12152 -8405
rect 12410 -8406 12478 -8388
rect 12410 -8440 12428 -8406
rect 12428 -8440 12478 -8406
rect 12551 -8407 12619 -8389
rect 12410 -8456 12478 -8440
rect 12551 -8441 12559 -8407
rect 12559 -8441 12619 -8407
rect 14346 -8361 14399 -8351
rect 14346 -8395 14352 -8361
rect 14352 -8395 14386 -8361
rect 14386 -8395 14399 -8361
rect 14346 -8404 14399 -8395
rect 12551 -8457 12619 -8441
rect 15058 -8585 15111 -8576
rect 15058 -8619 15066 -8585
rect 15066 -8619 15100 -8585
rect 15100 -8619 15111 -8585
rect 15058 -8629 15111 -8619
rect 15140 -8584 15193 -8575
rect 15140 -8618 15145 -8584
rect 15145 -8618 15179 -8584
rect 15179 -8618 15193 -8584
rect 15140 -8628 15193 -8618
rect 12202 -8853 12255 -8800
rect 12726 -8936 12779 -8883
rect 13935 -8937 13988 -8884
rect 13145 -9016 13198 -8963
rect 12303 -9099 12356 -9046
rect 14131 -9043 14184 -9025
rect 14131 -9077 14165 -9043
rect 14165 -9077 14184 -9043
rect 14131 -9078 14184 -9077
rect 12430 -9342 12483 -9289
rect 13930 -9333 13983 -9280
<< metal2 >>
rect 12539 -8291 12619 -7896
rect 12084 -8405 12164 -8379
rect 12539 -8382 12634 -8291
rect 12084 -8458 12099 -8405
rect 12152 -8458 12164 -8405
rect 12389 -8388 12634 -8382
rect 12389 -8456 12410 -8388
rect 12478 -8389 12634 -8388
rect 12478 -8456 12551 -8389
rect 12389 -8457 12551 -8456
rect 12619 -8457 12634 -8389
rect 12099 -9680 12143 -8458
rect 12389 -8474 12634 -8457
rect 12195 -8800 12263 -8793
rect 12195 -8853 12202 -8800
rect 12255 -8853 12263 -8800
rect 12195 -8863 12263 -8853
rect 12205 -9614 12249 -8863
rect 12296 -9046 12363 -9039
rect 12296 -9099 12303 -9046
rect 12356 -9099 12363 -9046
rect 12296 -9106 12363 -9099
rect 12305 -9614 12349 -9106
rect 12422 -9289 12491 -9281
rect 12422 -9342 12430 -9289
rect 12483 -9342 12491 -9289
rect 12422 -9354 12491 -9342
rect 12430 -9614 12474 -9354
rect 12539 -9680 12619 -8474
rect 12709 -8883 12789 -7896
rect 12709 -8936 12726 -8883
rect 12779 -8936 12789 -8883
rect 12709 -9680 12789 -8936
rect 13133 -8963 13213 -7896
rect 13280 -8044 13832 -7924
rect 13280 -8117 13355 -8044
rect 13758 -8117 13832 -8044
rect 13280 -8138 13832 -8117
rect 13133 -9016 13145 -8963
rect 13198 -9016 13213 -8963
rect 13133 -9680 13213 -9016
rect 13918 -8884 13998 -8855
rect 13918 -8937 13935 -8884
rect 13988 -8937 13998 -8884
rect 13918 -9280 13998 -8937
rect 13918 -9333 13930 -9280
rect 13983 -9333 13998 -9280
rect 13918 -9378 13998 -9333
rect 14122 -9025 14202 -7896
rect 14122 -9078 14131 -9025
rect 14184 -9078 14202 -9025
rect 14122 -9680 14202 -9078
rect 14335 -8351 14415 -7896
rect 14335 -8404 14346 -8351
rect 14399 -8404 14415 -8351
rect 14335 -9680 14415 -8404
rect 14689 -8148 14769 -7896
rect 14689 -8201 14704 -8148
rect 14757 -8201 14769 -8148
rect 14689 -9680 14769 -8201
rect 14817 -8261 15159 -8232
rect 14817 -8326 14867 -8261
rect 15110 -8326 15159 -8261
rect 14817 -8355 15159 -8326
rect 15046 -8575 15209 -8568
rect 15046 -8576 15140 -8575
rect 15046 -8585 15058 -8576
rect 15035 -8629 15058 -8585
rect 15111 -8628 15140 -8576
rect 15193 -8628 15209 -8575
rect 15111 -8629 15209 -8628
rect 15035 -8633 15209 -8629
rect 15035 -8656 15208 -8633
rect 15035 -9680 15119 -8656
<< via2 >>
rect 13355 -8117 13758 -8044
rect 14867 -8326 15110 -8261
<< metal3 >>
rect 13279 -8044 14437 -7924
rect 13279 -8117 13355 -8044
rect 13758 -8117 14437 -8044
rect 13279 -8119 14437 -8117
rect 13279 -8140 14438 -8119
rect 13382 -9283 14438 -8140
rect 14817 -8261 15159 -8232
rect 14817 -8326 14867 -8261
rect 15110 -8326 15159 -8261
rect 14817 -8355 15159 -8326
<< via3 >>
rect 14867 -8326 15110 -8261
<< mimcap >>
rect 13410 -8273 14410 -8205
rect 13410 -9161 13453 -8273
rect 14341 -9161 14410 -8273
rect 13410 -9205 14410 -9161
<< mimcapcontact >>
rect 13453 -9161 14341 -8273
<< metal4 >>
rect 14291 -8235 15159 -8233
rect 13434 -8261 15159 -8235
rect 13434 -8273 14867 -8261
rect 13434 -9161 13453 -8273
rect 14341 -8326 14867 -8273
rect 15110 -8326 15159 -8261
rect 14341 -8472 15159 -8326
rect 14341 -9161 14379 -8472
rect 13434 -9180 14379 -9161
<< labels >>
flabel metal1 15244 -8741 15262 -8708 1 FreeSans 320 0 0 0 sout
port 8 n
flabel metal1 15360 -9435 15378 -9402 1 FreeSans 320 0 0 0 GND
port 1 n
flabel metal2 15058 -8910 15081 -8887 1 FreeSans 320 0 0 0 spk
port 27 n
flabel metal2 13935 -9357 13955 -9339 1 FreeSans 320 0 0 0 weight[0]
port 30 n
flabel via1 12133 -8449 12136 -8438 1 FreeSans 320 0 0 0 weight[3]
port 31 n
flabel via1 12224 -8832 12229 -8828 1 FreeSans 320 0 0 0 weight[2]
port 32 n
flabel metal2 12323 -9520 12332 -9508 1 FreeSans 320 0 0 0 weight[1]
port 33 n
flabel metal2 14159 -9530 14164 -9525 1 FreeSans 320 0 0 0 JExcWn[0]
port 36 n
flabel metal2 13172 -9535 13180 -9516 1 FreeSans 320 0 0 0 JExcWn[1]
port 37 n
flabel metal2 12742 -9519 12750 -9500 1 FreeSans 320 0 0 0 JExcWn[2]
port 38 n
flabel metal2 12567 -9541 12575 -9522 1 FreeSans 320 0 0 0 JExcWn[3]
port 39 n
flabel metal2 14357 -9543 14400 -9522 1 FreeSans 320 0 0 0 vthn
port 40 n
flabel metal2 14715 -9535 14745 -9517 1 FreeSans 320 0 0 0 vtaup
port 41 n
flabel metal1 15589 -8001 15596 -7993 1 FreeSans 320 0 0 0 aVDD
port 42 n
<< end >>
